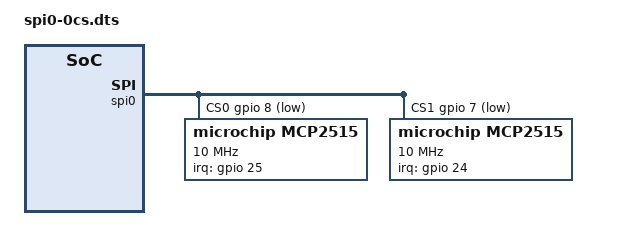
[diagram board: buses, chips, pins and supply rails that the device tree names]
/dts-v1/;
/plugin/;

/ {
    compatible = "raspberrypi";

    fragment@0 {
        target = <&spi0>;
        __overlay__ {
            #address-cells = <1>;
            #size-cells = <0>;
            cs-gpios = <&gpio 8 1>, <&gpio 7 1>;  // GPIO 8 for CS0, GPIO 7 for CS1.
            status = "okay";

            mcp2515@0 {
                compatible = "microchip,mcp2515";
                reg = <0>;  // Chipselect 0.
                spi-max-frequency = <10000000>;  // 10 MHz.
                interrupt-parent = <&gpio>;
                interrupts = <25 2>;  // GPIO 25, Falling edge triggered.
                oscillator-frequency = <16000000>;
                status = "okay";
            };

            mcp2515@1 {
                compatible = "microchip,mcp2515";
                reg = <1>;  // Chipselect 1.
                spi-max-frequency = <10000000>;  // 10 MHz.
                interrupt-parent = <&gpio>;
                interrupts = <24 2>;  // GPIO 24, Falling edge triggered.
                oscillator-frequency = <16000000>;
                status = "okay";
            };
        };
    };

    fragment@1 {
        target = <&spidev0>;
        __overlay__ {
            status = "disabled";
        };
    };

    fragment@2 {
        target = <&spidev1>;
        __overlay__ {
            status = "disabled";
        };
    };
};
